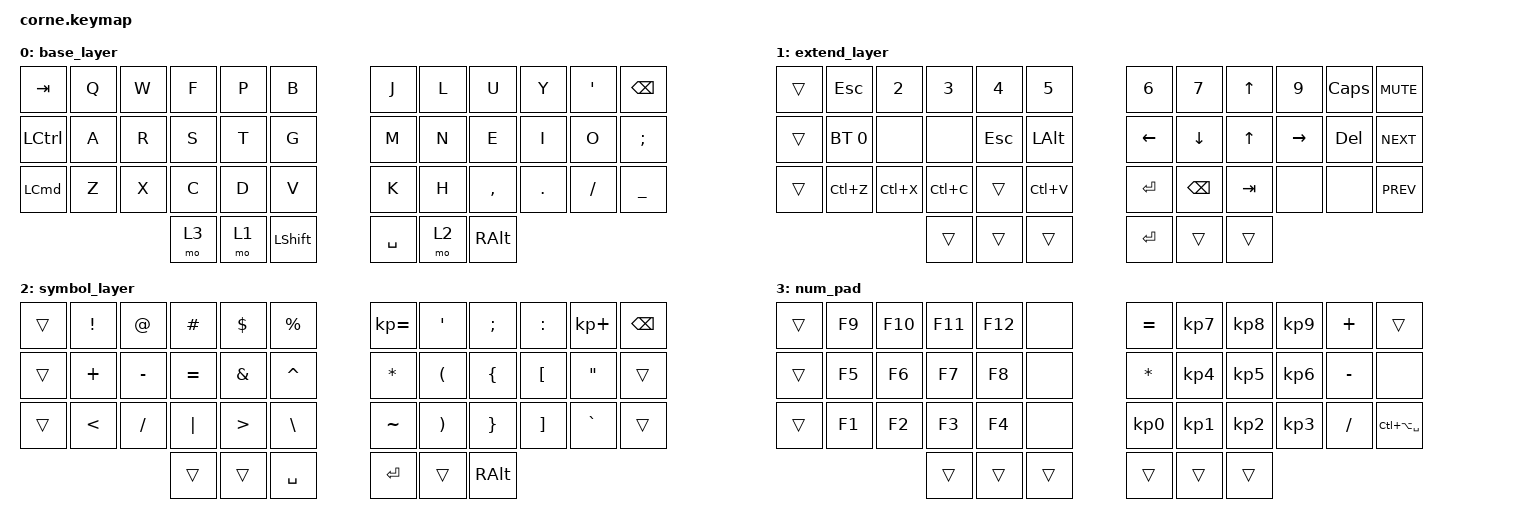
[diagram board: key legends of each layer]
/*
 * Copyright (c) 2020 The ZMK Contributors
 *
 * SPDX-License-Identifier: MIT
 */

#include <behaviors.dtsi>
#include <dt-bindings/zmk/bt.h>
#include <dt-bindings/zmk/keys.h>

/ {
    combos {
        compatible = "zmk,combos";
    };

    keymap {
        compatible = "zmk,keymap";

        base_layer {
            // -----------------------------------------------------------------------------------------
            // |  TAB |  Q  |  W  |  E  |  R  |  T  |   |  Y  |  U   |  I  |  O  |  P  | BKSP |
            // | CTRL |  A  |  S  |  D  |  F  |  G  |   |  H  |  J   |  K  |  L  |  ;  |  '   |
            // | SHFT |  Z  |  X  |  C  |  V  |  B  |   |  N  |  M   |  ,  |  .  |  /  | ESC  |
            //                    | GUI | LWR | SPC |   | ENT | RSE  | ALT |

            bindings = <
&kp TAB           &kp Q  &kp W  &kp F  &kp P  &kp B             &kp J      &kp L  &kp U      &kp Y    &kp SINGLE_QUOTE  &kp BSPC
&kp LCTRL         &kp A  &kp R  &kp S  &kp T  &kp G             &kp M      &kp N  &kp E      &kp I    &kp O             &kp SEMICOLON
&kp LEFT_COMMAND  &kp Z  &kp X  &kp C  &kp D  &kp V             &kp K      &kp H  &kp COMMA  &kp DOT  &kp FSLH          &kp UNDERSCORE
                                &mo 3  &mo 1  &kp LEFT_SHIFT    &kp SPACE  &mo 2  &kp RALT
            >;
        };

        extend_layer {
            // -----------------------------------------------------------------------------------------
            // |  TAB |  1  |  2  |  3  |  4  |  5  |   |  6  |  7  |  8  |  9  |  0  | BKSP |
            // | BTCLR| BT1 | BT2 | BT3 | BT4 | BT5 |   | LFT | DWN |  UP | RGT |     |      |
            // | SHFT |     |     |     |     |     |   |     |     |     |     |     |      |
            //                    | GUI |     | SPC |   | ENT |     | ALT |

            bindings = <
&trans  &kp ESC       &kp N2     &kp N3     &kp N4   &kp N5          &kp N6     &kp N7          &kp UP_ARROW  &kp N9     &kp CAPSLOCK  &kp K_MUTE
&trans  &bt BT_SEL 0  &none      &none      &kp ESC  &kp LEFT_ALT    &kp LEFT   &kp DOWN_ARROW  &kp UP        &kp RIGHT  &kp DELETE    &kp C_NEXT
&trans  &kp LC(Z)     &kp LC(X)  &kp LC(C)  &trans   &kp LC(V)       &kp ENTER  &kp BACKSPACE   &kp TAB       &none      &none         &kp C_PREV
                                 &trans     &trans   &trans          &kp RET    &trans          &trans
            >;
        };

        symbol_layer {
            // -----------------------------------------------------------------------------------------
            // |  TAB |  !  |  @  |  #  |  $  |  %  |   |  ^  |  &  |  *  |  (  |  )  | BKSP |
            // | CTRL |     |     |     |     |     |   |  -  |  =  |  [  |  ]  |  \  |  `   |
            // | SHFT |     |     |     |     |     |   |  _  |  +  |  {  |  }  | "|" |  ~   |
            //                    | GUI |     | SPC |   | ENT |     | ALT |

            bindings = <
&trans  &kp EXCL       &kp AT     &kp HASH   &kp DLLR          &kp PRCNT        &kp KP_EQUAL  &kp SINGLE_QUOTE       &kp SEMI         &kp COLON          &kp KP_PLUS        &kp BSPC
&trans  &kp PLUS       &kp MINUS  &kp EQUAL  &kp AMPERSAND     &kp CARET        &kp ASTRK     &kp LEFT_PARENTHESIS   &kp LEFT_BRACE   &kp LEFT_BRACKET   &kp DOUBLE_QUOTES  &trans
&trans  &kp LESS_THAN  &kp SLASH  &kp PIPE   &kp GREATER_THAN  &kp BACKSLASH    &kp TILDE     &kp RIGHT_PARENTHESIS  &kp RIGHT_BRACE  &kp RIGHT_BRACKET  &kp GRAVE          &trans
                                  &trans     &trans            &kp SPACE        &kp RET       &trans                 &kp RALT
            >;
        };

        num_pad {
            bindings = <
&trans  &kp F9  &kp F10  &kp F11  &kp F12  &none     &kp EQUAL        &kp KP_N7  &kp KP_N8        &kp KP_N9  &kp PLUS   &trans
&trans  &kp F5  &kp F6   &kp F7   &kp F8   &none     &kp ASTERISK     &kp KP_N4  &kp KP_N5        &kp KP_N6  &kp MINUS  &none
&trans  &kp F1  &kp F2   &kp F3   &kp F4   &none     &kp KP_NUMBER_0  &kp KP_N1  &kp KP_NUMBER_2  &kp KP_N3  &kp SLASH  &kp LC(LA(SPACE))
                         &trans   &trans   &trans    &trans           &trans     &trans
            >;
        };
    };
};
